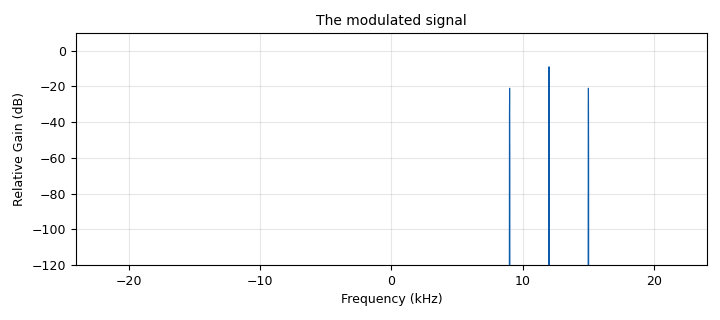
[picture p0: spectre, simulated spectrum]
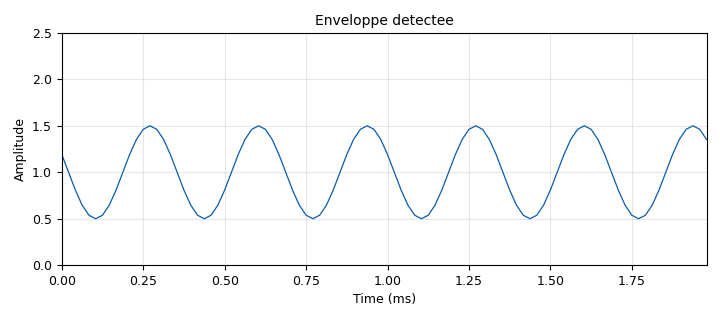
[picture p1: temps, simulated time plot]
options:
  parameters:
    generate_options: qt_gui
    id: fg_tp11_001
    output_language: python
    title: FG-TP11-001
  states: {}

blocks:
- name: f_message
  id: variable
  parameters:
    value: '3000'
  states: {}
- name: f_porteuse
  id: variable
  parameters:
    value: '12000'
  states: {}
- name: indice
  id: variable_qtgui_range
  parameters:
    gui_hint: 0,0,1,1
    label: '"Indice de modulation"'
    start: '0'
    step: '0.05'
    stop: '1.5'
    value: '0.5'
  states: {}
- name: noise
  id: variable_qtgui_range
  parameters:
    gui_hint: 1,0,1,1
    label: '"Channel Noise"'
    start: '0'
    step: '0.005'
    stop: '0.2'
    value: '0'
  states: {}
- name: samp_rate
  id: variable
  parameters:
    value: '48000'
  states: {}
- name: canal
  id: channels_channel_model
  parameters:
    epsilon: '1.0'
    freq_offset: '0'
    noise_voltage: noise
    seed: '0'
    taps: '[1.0 + 0.0j]'
  states: {}
- name: continu
  id: blocks_add_const_vxx
  parameters:
    const: '1'
    type: float
  states: {}
- name: debit
  id: blocks_throttle2
  parameters:
    samples_per_second: samp_rate
    type: complex
  states: {}
- name: detecteur
  id: blocks_complex_to_mag
  parameters: {}
  states: {}
- name: enveloppe
  id: blocks_float_to_complex
  parameters: {}
  states: {}
- name: message
  id: analog_sig_source_x
  parameters:
    amp: '1'
    freq: f_message
    offset: '0'
    phase: '0'
    samp_rate: samp_rate
    type: float
    waveform: analog.GR_COS_WAVE
  states: {}
- name: porteuse
  id: analog_sig_source_x
  parameters:
    amp: '1'
    freq: f_porteuse
    offset: '0'
    phase: '0'
    samp_rate: samp_rate
    type: complex
    waveform: analog.GR_COS_WAVE
  states: {}
- name: profondeur
  id: blocks_multiply_const_vxx
  parameters:
    const: indice
    type: float
  states: {}
- name: spectre
  id: qtgui_freq_sink_x
  parameters:
    average: '0.1'
    bw: samp_rate
    fc: '0'
    fftsize: '8192'
    grid: 'True'
    gui_hint: 2,0,1,1
    legend: 'False'
    name: '"The modulated signal"'
    type: complex
    ymin: '-120'
  states: {}
- name: temps
  id: qtgui_time_sink_x
  parameters:
    grid: 'True'
    gui_hint: 3,0,1,1
    legend: 'False'
    name: '"Enveloppe detectee"'
    size: '96'
    srate: samp_rate
    type: float
    ymax: '2.5'
    ymin: '0'
  states: {}
- name: transposer
  id: blocks_multiply_xx
  parameters:
    type: complex
  states: {}

connections:
- [canal, '0', detecteur, '0']
- [canal, '0', spectre, '0']
- [continu, '0', enveloppe, '0']
- [debit, '0', canal, '0']
- [detecteur, '0', temps, '0']
- [enveloppe, '0', transposer, '0']
- [message, '0', profondeur, '0']
- [porteuse, '0', transposer, '1']
- [profondeur, '0', continu, '0']
- [transposer, '0', debit, '0']

metadata:
  file_format: 1
  grc_version: 3.10.12.0
